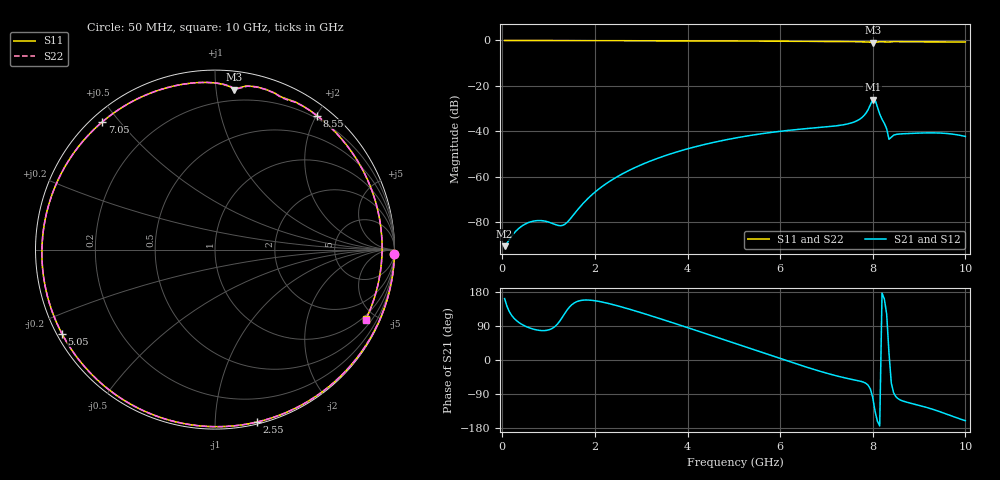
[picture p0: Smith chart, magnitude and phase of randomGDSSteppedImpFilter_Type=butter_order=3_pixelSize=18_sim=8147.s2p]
! freq	dB(S11)	phase(S11)	dB(S12)	phase(S12)
!  dB(S21)	phase(S21)	dB(S22)	phase(S22)
!S-par simulation data
#  GHz  S  DB  R 50
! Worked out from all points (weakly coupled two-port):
!   200 points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, 50 MHz to 10 GHz, reference 50 ohm
!   highest |S21| = -26.02 dB at 8 GHz (marker M1); lowest = -90.6 dB at 50 MHz (marker M2)
!   lowest |S11| = -0.9 dB at 8 GHz (marker M3), VSWR 18.64, Z = 6.08 + j56.1 ohm
!   |S11| at or under -10 dB: nowhere
!   |S22| runs from -0.9 to 0.0 dB; largest |S21 - S12| = 0
!   S11 on the Smith chart (normalised r, x): 50 MHz: 0, -75; 2.55 GHz: 0.01, -1.27; 5.05 GHz: 0.01, -0.26; 7.05 GHz: 0.03, +0.45; 8.55 GHz: 0.16, +2.01; 10 GHz: 0.82, -4.44
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0.05  -0.00 -1.5  -90.63 162.1  -90.63 162.1  -0.00 -1.5
0.7  -0.02 -21.3  -79.49 80.5  -79.49 80.5  -0.02 -21.3
1.4  -0.05 -42.3  -80.13 132.1  -80.13 132.1  -0.05 -42.3
1.75  -0.07 -52.7  -71.68 158.0  -71.68 158.0  -0.07 -52.7
2.1  -0.08 -63.0  -65.19 154.4  -65.19 154.4  -0.08 -63.0
2.55  -0.10 -76.2  -59.25 140.9  -59.25 140.9  -0.10 -76.2
3.4  -0.13 -101.0  -51.58 109.3  -51.58 109.3  -0.13 -101.0
4.2  -0.18 -124.7  -46.66 77.4  -46.66 77.4  -0.18 -124.7
5.05  -0.24 -151.3  -42.91 42.9  -42.91 42.9  -0.24 -151.3
5.95  -0.32 177.5  -40.14 6.0  -40.14 6.0  -0.32 177.4
6.7  -0.41 147.3  -38.61 -23.8  -38.61 -23.8  -0.41 147.1
7.05  -0.45 131.5  -37.98 -36.4  -37.98 -36.4  -0.45 131.2
7.7  -0.56 98.7  -34.92 -55.0  -34.92 -55.0  -0.56 98.4
7.85  -0.64 90.4  -32.12 -61.4  -32.12 -61.4  -0.64 90.1
8  -0.93 83.1  -26.02 -99.7  -26.02 -99.7  -0.92 82.7
8.05  -0.84 82.0  -26.19 -135.8  -26.19 -135.8  -0.83 81.5
8.15  -0.58 75.9  -32.38 -174.1  -32.38 -174.1  -0.58 75.4
8.3  -0.65 66.8  -38.87 120.8  -38.87 120.8  -0.68 66.4
8.35  -0.64 64.5  -43.55 18.5  -43.55 18.5  -0.66 64.2
8.55  -0.55 52.7  -41.27 -102.4  -41.27 -102.4  -0.55 52.3
9.25  -0.60 13.3  -40.71 -128.4  -40.71 -128.4  -0.60 12.8
10  -0.67 -24.6  -42.29 -160.2  -42.29 -160.2  -0.67 -25.0
